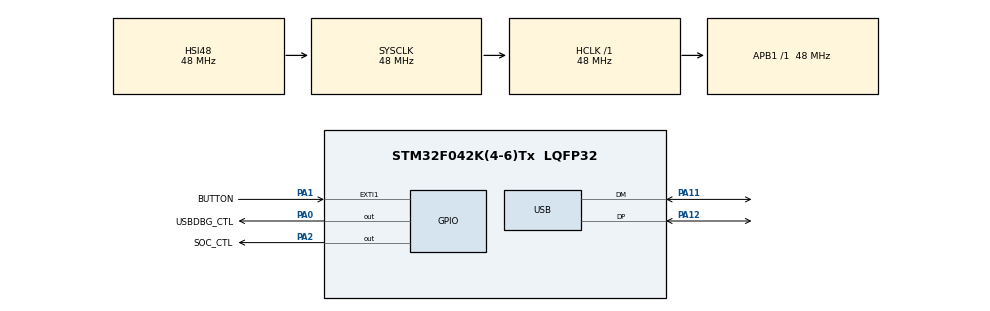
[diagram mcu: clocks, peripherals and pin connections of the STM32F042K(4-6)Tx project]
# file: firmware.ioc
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Mcu.Family=STM32F0
Mcu.Name=STM32F042K(4-6)Tx
Mcu.Package=LQFP32
NVIC.EXTI0_1_IRQn=true\:0\:0\:false\:false\:true\:true\:true
NVIC.USB_IRQn=true\:0\:0\:false\:false\:true\:false\:true
PA0.GPIO_Label=USBDBG_CTL
PA0.Signal=GPIO_Output
PA1.GPIO_Label=BUTTON
PA1.Signal=GPXTI1
PA11.Mode=Device
PA11.Signal=USB_DM
PA12.Mode=Device
PA12.Signal=USB_DP
PA13.Mode=Serial_Wire
PA13.Signal=SYS_SWDIO
PA14.Mode=Serial_Wire
PA14.Signal=SYS_SWCLK
PA2.GPIO_Label=SOC_CTL
PA2.Signal=GPIO_Output
PF0-OSC_IN.Mode=HSE-External-Oscillator
PF0-OSC_IN.Signal=RCC_OSC_IN
PF1-OSC_OUT.Mode=HSE-External-Oscillator
PF1-OSC_OUT.Signal=RCC_OSC_OUT
ProjectManager.HeapSize=0x200
ProjectManager.StackSize=0x400
ProjectManager.TargetToolchain=SW4STM32
RCC.AHBFreq_Value=48000000
RCC.APB1Freq_Value=48000000
RCC.APB1TimFreq_Value=48000000
RCC.HCLKFreq_Value=48000000
RCC.PLLSourceVirtual=RCC_PLLSOURCE_HSE
RCC.SYSCLKFreq_VALUE=48000000
RCC.SYSCLKSource=RCC_SYSCLKSOURCE_HSI48
USB_DEVICE.APP_RX_DATA_SIZE=256
USB_DEVICE.APP_TX_DATA_SIZE=256
USB_DEVICE.CLASS_NAME_FS=CDC
USB_DEVICE.MANUFACTURER_STRING=Denis Kokarev
USB_DEVICE.PRODUCT_STRING_CDC_FS=UART Switch
USB_DEVICE.USBD_MAX_STR_DESC_SIZ=256
USB_DEVICE.VirtualMode=Cdc
USB_DEVICE.VirtualModeFS=Cdc_FS
VP_USB_DEVICE_VS_USB_DEVICE_CDC_FS.Mode=CDC_FS
board=custom

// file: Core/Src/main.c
/* USER CODE BEGIN Header */
/**
  ******************************************************************************
  * @file           : main.c
  * @brief          : Main program body
  ******************************************************************************
  * @attention
  *
  * <h2><center>&copy; Copyright (c) 2022 STMicroelectronics.
  * All rights reserved.</center></h2>
  *
  * This software component is licensed by ST under BSD 3-Clause license,
  * the "License"; You may not use this file except in compliance with the
  * License. You may obtain a copy of the License at:
  *                        opensource.org/licenses/BSD-3-Clause
  *
  ******************************************************************************
  */
/* USER CODE END Header */
#include "main.h"
#include "usb_device.h"

/* USER CODE BEGIN Includes */
#include "usbd_cdc_if.h"
#include "modes.h"

/* USER CODE END Includes */

void SystemClock_Config(void);
static void MX_GPIO_Init(void);

int main(void)
{

  /* MCU Configuration--------------------------------------------------------*/

  /* Reset of all peripherals, Initializes the Flash interface and the Systick. */
  HAL_Init();

  /* Configure the system clock */
  SystemClock_Config();

  /* Initialize all configured peripherals */
  MX_GPIO_Init();
  MX_USB_DEVICE_Init();

  /* Infinite loop */
  /* USER CODE BEGIN WHILE */
  while (1)
  {
      // keep polling input_ch populated by usb reader
      if (input_ch != 0) {
          switch (input_ch) {
              case '0':
              case '1':
              case '2':
                  set_mode(input_ch - '0');
                  break;
              default:
                  print_help();
          }
          input_ch = 0;
      }
      HAL_Delay(100);
    /* USER CODE END WHILE */

  }
}

void SystemClock_Config(void)
{
  RCC_OscInitTypeDef RCC_OscInitStruct = {0};
  RCC_ClkInitTypeDef RCC_ClkInitStruct = {0};
  RCC_PeriphCLKInitTypeDef PeriphClkInit = {0};

  /** Initializes the RCC Oscillators according to the specified parameters
  * in the RCC_OscInitTypeDef structure.
  */
  RCC_OscInitStruct.OscillatorType = RCC_OSCILLATORTYPE_HSI48;
  RCC_OscInitStruct.HSI48State = RCC_HSI48_ON;
  RCC_OscInitStruct.PLL.PLLState = RCC_PLL_NONE;
  if (HAL_RCC_OscConfig(&RCC_OscInitStruct) != HAL_OK)
  {
    Error_Handler();
  }
  /** Initializes the CPU, AHB and APB buses clocks
  */
  RCC_ClkInitStruct.ClockType = RCC_CLOCKTYPE_HCLK|RCC_CLOCKTYPE_SYSCLK
                              |RCC_CLOCKTYPE_PCLK1;
  RCC_ClkInitStruct.SYSCLKSource = RCC_SYSCLKSOURCE_HSI48;
  RCC_ClkInitStruct.AHBCLKDivider = RCC_SYSCLK_DIV1;
  RCC_ClkInitStruct.APB1CLKDivider = RCC_HCLK_DIV1;

  if (HAL_RCC_ClockConfig(&RCC_ClkInitStruct, FLASH_LATENCY_1) != HAL_OK)
  {
    Error_Handler();
  }
  PeriphClkInit.PeriphClockSelection = RCC_PERIPHCLK_USB;
  PeriphClkInit.UsbClockSelection = RCC_USBCLKSOURCE_HSI48;

  if (HAL_RCCEx_PeriphCLKConfig(&PeriphClkInit) != HAL_OK)
  {
    Error_Handler();
  }
}

static void MX_GPIO_Init(void)
{
  GPIO_InitTypeDef GPIO_InitStruct = {0};

  /* GPIO Ports Clock Enable */
  __HAL_RCC_GPIOF_CLK_ENABLE();
  __HAL_RCC_GPIOA_CLK_ENABLE();

  /*Configure GPIO pin Output Level */
  HAL_GPIO_WritePin(GPIOA, USBDBG_CTL_Pin|SOC_CTL_Pin, GPIO_PIN_RESET);

  /*Configure GPIO pins : USBDBG_CTL_Pin SOC_CTL_Pin */
  GPIO_InitStruct.Pin = USBDBG_CTL_Pin|SOC_CTL_Pin;
  GPIO_InitStruct.Mode = GPIO_MODE_OUTPUT_PP;
  GPIO_InitStruct.Pull = GPIO_NOPULL;
  GPIO_InitStruct.Speed = GPIO_SPEED_FREQ_LOW;
  HAL_GPIO_Init(GPIOA, &GPIO_InitStruct);

  /*Configure GPIO pin : BUTTON_Pin */
  GPIO_InitStruct.Pin = BUTTON_Pin;
  GPIO_InitStruct.Mode = GPIO_MODE_IT_RISING;
  GPIO_InitStruct.Pull = GPIO_NOPULL;
  HAL_GPIO_Init(BUTTON_GPIO_Port, &GPIO_InitStruct);

  /* EXTI interrupt init*/
  HAL_NVIC_SetPriority(EXTI0_1_IRQn, 0, 0);
  HAL_NVIC_EnableIRQ(EXTI0_1_IRQn);

}

/* USER CODE BEGIN 4 */
void HAL_GPIO_EXTI_Callback(uint16_t GPIO_Pin) {
    if (GPIO_Pin == BUTTON_Pin) {
        next_mode();
    }
}
/* USER CODE END 4 */

void Error_Handler(void)
{
  __disable_irq();
  while (1)
  {
  }
}

/************************ (C) COPYRIGHT STMicroelectronics *****END OF FILE****/
